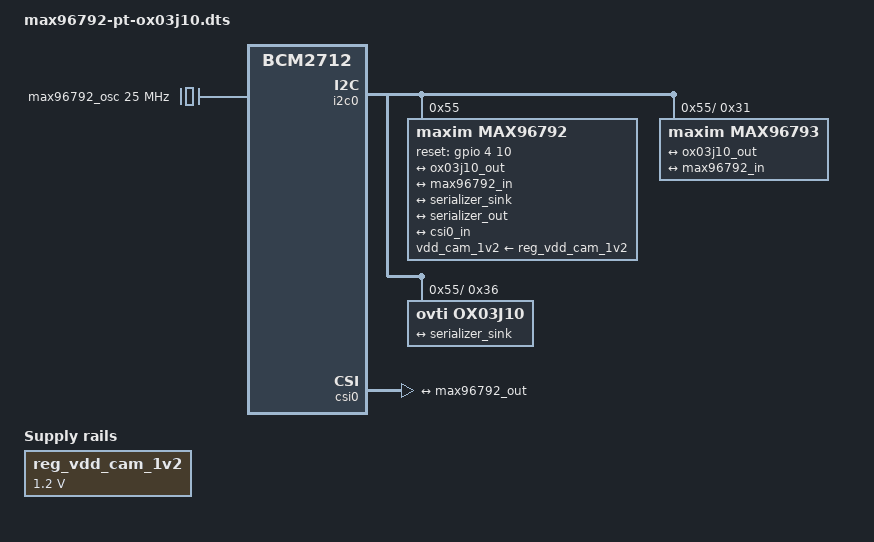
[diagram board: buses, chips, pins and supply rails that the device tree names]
/dts-v1/;
/plugin/;

#include <dt-bindings/gpio/gpio.h>

 / {
     compatible = "raspberrypi,bcm2712";

     max96792_osc: max96792-osc {
         compatible = "fixed-clock";
         #clock-cells = <0>;
         clock-frequency = <25000000>;
         clock-output-names = "max96792_clk";
     };

     fragment@0 {
         target = <&i2c0>;
         __overlay__ {
             status = "okay";
             #address-cells = <1>;
             #size-cells = <0>;

             max96792: deserializer@55 {
                 compatible = "maxim,max96792";
                 reg = <0x55>;
                 csi-mode = "2x4";
                 max-src = <1>;
                 reset-gpios = <&gpio 4 10 GPIO_ACTIVE_HIGH>;
                 vdd_cam_1v2-supply = <&reg_vdd_cam_1v2>;
                 clocks = <&max96792_osc>;
                 clock-names = "xvclk";
                 maxim,enable-i2c-pt;

                 i2c-mux {
                     #address-cells = <1>;
                     #size-cells = <0>;

                     i2c@0 {
                         reg = <0>;
                         #address-cells = <1>;
                         #size-cells = <0>;

                         max96793: serializer@31 {
                             compatible = "maxim,max96793";
                             reg = <0x31>;
                             maxim,gmsl-link = <0>;

                             ports {
                                 #address-cells = <1>;
                                 #size-cells = <0>;

                                 port@0 {
                                     reg = <0>;
                                     serializer_sink: endpoint {
                                         remote-endpoint = <&ox03j10_out>;
                                     };
                                 };
                                 port@1 {
                                     reg = <1>;
                                     serializer_out: endpoint {
                                         remote-endpoint = <&max96792_in>;
                                         data-lanes = <1 2>;
                                     };
                                 };
                             };
                         };

                         ox03j10: camera@36 {
                             compatible = "ovti,ox03j10";
                             reg = <0x36>;
                             clocks = <&max96792_osc>;
                             clock-names = "xvclk";

                             port {
                                 ox03j10_out: endpoint {
                                     remote-endpoint = <&serializer_sink>;
                                     data-lanes = <1 2>;
                                     bus-type = <5>;
                                 };
                             };
                         };
                     };
                 };

                 ports {
                     #address-cells = <1>;
                     #size-cells = <0>;

                     port@0 {
                         reg = <0>;
                         max96792_in: endpoint {
                             remote-endpoint = <&serializer_out>;
                         };
                     };
                     port@4 {
                         reg = <4>;
                         max96792_out: endpoint {
                             remote-endpoint = <&csi0_in>;
                             data-lanes = <1 2>;
                             bus-type = <5>;
                         };
                     };
                 };
             };
         };
     };

     fragment@1 {
         target = <&csi0>;
         __overlay__ {
             status = "okay";
             port {
                 csi0_in: endpoint {
                     remote-endpoint = <&max96792_out>;
                 };
             };
         };
     };

     reg_vdd_cam_1v2: regulator-vdd-cam-1v2 {
         compatible = "regulator-fixed";
         regulator-name = "vdd_cam_1v2";
         regulator-min-microvolt = <1200000>;
         regulator-max-microvolt = <1200000>;
         regulator-always-on;
     };
 };
